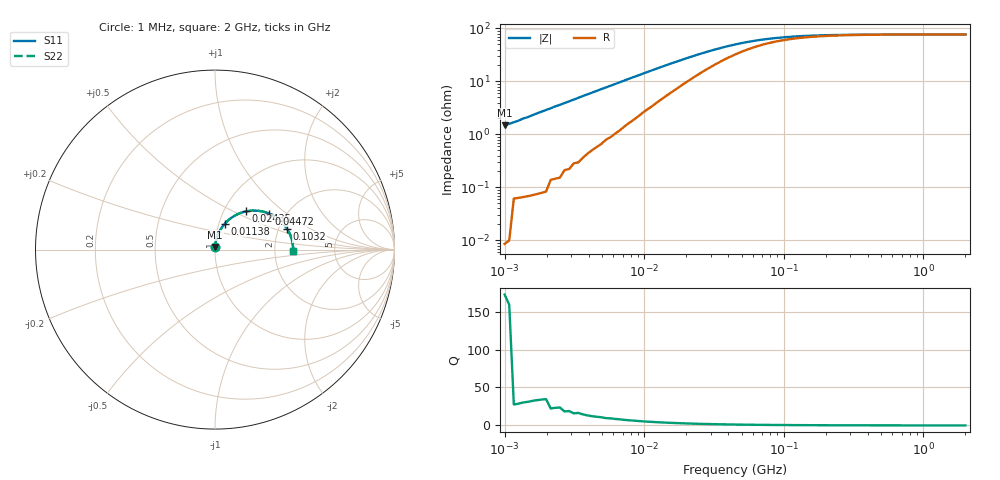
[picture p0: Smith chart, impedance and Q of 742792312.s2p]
! PART_NUMBER: 742792312
! NOM_L= 0.0H
! IMAX= 3.0A
! MAKE: wUERTH ELEKTRONIK
! DIM: 1210
! SRF:
! SMD-Ferrit WE-CBF
! DATASHEET: 742792312.pdf
# MHz  S  MA  R 50
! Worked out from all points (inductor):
!   101 points, 1 MHz to 2 GHz, reference 50 ohm
!   read as one part in series: L = 233 nH near 1 MHz
!   highest Q = 173 at 1 MHz (marker M1), where L = 235 nH
!   self-resonance near 1.328 GHz
!   S11 on the Smith chart (normalised r, x): 1 MHz: 1.00, +0.03; 11.38 MHz: 1.07, +0.32; 24.35 MHz: 1.27, +0.59; 44.72 MHz: 1.64, +0.76; 103.2 MHz: 2.22, +0.62; 2 GHz: 2.54, -0.05
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1  0.015 88.1  1 -0.8  1 -0.8  0.015 88.1
1.256119  0.018 87.6  0.999 -1.0  0.999 -1.0  0.018 87.6
1.355318  0.02 87.4  0.999 -1.1  0.999 -1.1  0.02 87.4
1.462351  0.021 87.2  0.999 -1.2  0.999 -1.2  0.021 87.2
1.702441  0.025 86.7  0.999 -1.4  0.999 -1.4  0.025 86.7
2.138469  0.031 85.9  0.998 -1.8  0.998 -1.8  0.031 85.9
2.307349  0.034 85.6  0.998 -1.9  0.998 -1.9  0.034 85.6
3.127192  0.045 84.0  0.996 -2.6  0.996 -2.6  0.045 84.0
3.640618  0.053 83.0  0.995 -3.0  0.995 -3.0  0.053 83.0
6.687403  0.095 77.4  0.984 -5.4  0.984 -5.4  0.095 77.4
11.38491  0.155 69.1  0.956 -8.7  0.956 -8.7  0.155 69.1
13.2541  0.177 66.1  0.942 -9.9  0.942 -9.9  0.177 66.1
17.96352  0.224 59.0  0.905 -12.3  0.905 -12.3  0.224 59.0
24.34628  0.275 50.8  0.853 -14.5  0.853 -14.5  0.275 50.8
32.99695  0.323 42.1  0.791 -15.9  0.791 -15.9  0.323 42.1
44.72136  0.362 33.7  0.727 -16.0  0.727 -16.0  0.362 33.7
65.39831  0.396 24.5  0.66 -14.4  0.66 -14.4  0.396 24.5
103.1878  0.418 16.0  0.609 -10.9  0.609 -10.9  0.418 16.0
162.8134  0.428 10.2  0.584 -7.5  0.584 -7.5  0.428 10.2
299.0698  0.433 5.4  0.57 -4.1  0.57 -4.1  0.433 5.4
592.7413  0.435 2.3  0.566 -1.8  0.566 -1.8  0.435 2.3
2000  0.435 -1.1  0.565 0.8  0.565 0.8  0.435 -1.1
